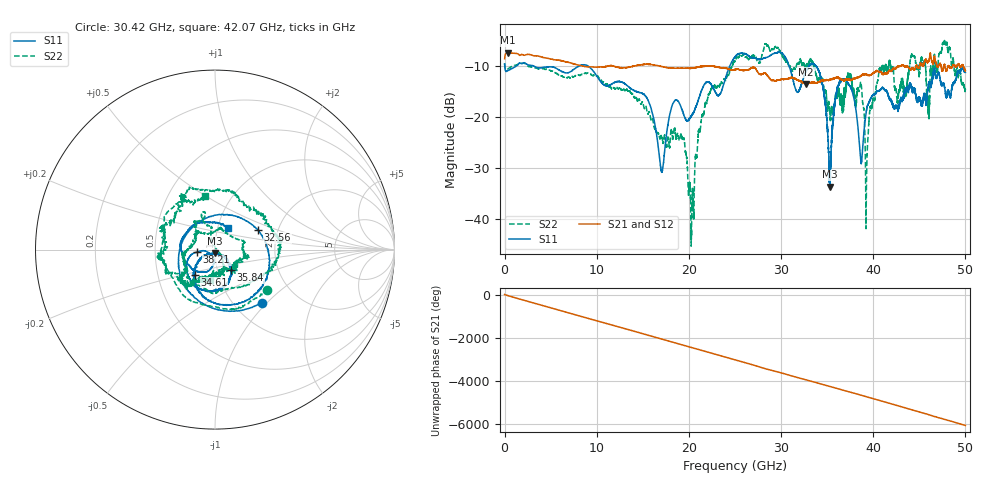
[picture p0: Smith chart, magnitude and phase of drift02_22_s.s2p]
!Created with skrf (http://scikit-rf.org).
# Hz S RI R 50.0
!freq ReS11 ImS11 ReS21 ImS21 ReS12 ImS12 ReS22 ImS22
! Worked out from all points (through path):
!   10001 points, 300 kHz to 50 GHz, reference 50 ohm
!   highest |S21| = -7.32 dB at 325.3 MHz (marker M1); lowest = -13.5 dB at 32.71 GHz (marker M2)
!   group delay of S21, straight-line fit = 335 ps
!   lowest |S11| = -33.6 dB at 35.28 GHz (marker M3), VSWR 1.04, Z = 49.8 - j2.07 ohm
!   |S11| at or under -10 dB: 3.234 GHz to 8.006 GHz (4.772 GHz wide, 84.9 % of centre); 9.104 GHz to 24.41 GHz (15.31 GHz wide, 91.3 % of centre); 33.83 GHz to end of sweep (the widest 3 of 7)
!   |S22| runs from -45.3 to -4.9 dB; largest |S21 - S12| = 0.015
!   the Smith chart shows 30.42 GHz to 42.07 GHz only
!   S11 on the Smith chart (normalised r, x): 30.42 GHz: 1.34, -0.93; 32.56 GHz: 1.57, +0.37; 34.61 GHz: 0.77, -0.22; 35.84 GHz: 1.16, -0.27; 38.21 GHz: 0.82, -0.02; 42.07 GHz: 1.12, +0.27
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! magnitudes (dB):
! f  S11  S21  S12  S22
! 300 kHz  -9.5  -8.5  -8.5  -9.4
! 325.3 MHz  -10.9  -7.3  -7.3  -10.6
! 8.335 GHz  -9.7  -9.9  -9.9  -11.6
! 16.67 GHz  -25.8  -9.9  -9.9  -23.2
! 19.32 GHz  -18.8  -10.4  -10.4  -24.3
! 20.35 GHz  -19.4  -10.4  -10.3  -35.2
! 21.94 GHz  -13.1  -10.0  -10.0  -17.1
! 25 GHz  -8.1  -10.6  -10.6  -9.0
! 30.42 GHz  -8.1  -12.5  -12.5  -8.7
! 32.56 GHz  -11.6  -13.2  -13.3  -10.1
! 32.71 GHz  -11.0  -13.5  -13.6  -10.3
! 33.34 GHz  -9.6  -13.2  -13.2  -9.0
! 34.61 GHz  -14.9  -12.8  -12.7  -13.9
! 35.28 GHz  -33.6  -12.6  -12.6  -19.0
! 35.84 GHz  -16.9  -12.3  -12.3  -16.6
! 38.21 GHz  -19.8  -12.2  -12.2  -15.8
! 39.31 GHz  -18.2  -11.6  -11.6  -28.7
! 41.67 GHz  -15.9  -10.9  -11.0  -10.0
! 42.07 GHz  -17.2  -10.7  -10.6  -10.3
! 45.96 GHz  -14.0  -9.2  -9.2  -17.2
! 47.77 GHz  -14.4  -9.8  -9.8  -5.4
! 50 GHz  -11.2  -10.8  -10.8  -14.6
